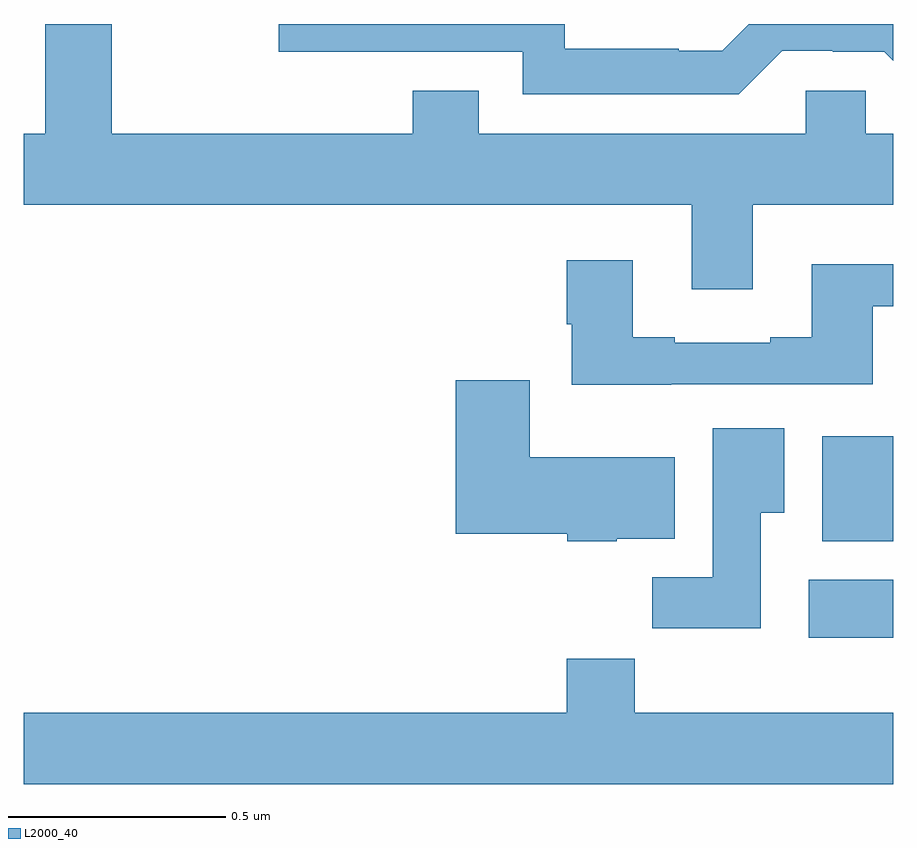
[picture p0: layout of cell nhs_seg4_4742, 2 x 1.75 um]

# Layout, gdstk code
import gdstk
lib = gdstk.Library(unit=1e-6, precision=1e-09)
def R(c, l, rs):  # rectangles x0, y0, x1, y1
    for r in rs: c.add(gdstk.rectangle(r[:2], r[2:], *l))
def P(c, l, *ps):  # polygons
    for p in ps: c.add(gdstk.Polygon(p, *l))
L2000_40 = (2000, 40)

nhs_seg4_4742 = lib.new_cell('nhs_seg4_4742')
R(nhs_seg4_4742, L2000_40, [(170.805,798.488,171,798.622), (170.837,798.71,171,798.952)])
P(nhs_seg4_4742, L2000_40, [(169.049,799.9),(169.049,799.648),(169,799.648),(169,799.484),(170.537,799.484),(170.537,799.29),(170.677,799.29),(170.677,799.484),(171,799.484),(171,799.648),(170.937,799.648),(170.937,799.746),(170.799,799.746),(170.799,799.648),(170.047,799.648),(170.047,799.747),(169.895,799.747),(169.895,799.648),(169.202,799.648),(169.202,799.9)],
  [(170.745,799.839),(170.861,799.839),(170.861,799.836),(170.979,799.836),(171,799.815),(171,799.9),(170.668,799.9),(170.607,799.839),(170.507,799.839),(170.507,799.843),(170.244,799.843),(170.244,799.9),(169.587,799.9),(169.587,799.836),(170.148,799.836),(170.148,799.739),(170.645,799.739)],
  [(170.489,799.071),(170.953,799.071),(170.953,799.251),(171,799.251),(171,799.348),(170.813,799.348),(170.813,799.18),(170.717,799.18),(170.717,799.167),(170.497,799.167),(170.497,799.18),(170.401,799.18),(170.401,799.357),(170.249,799.357),(170.249,799.209),(170.261,799.209),(170.261,799.07),(170.489,799.07)],
  [(170.364,798.716),(170.497,798.716),(170.497,798.904),(170.164,798.904),(170.164,799.081),(169.994,799.081),(169.994,798.728),(170.25,798.728),(170.25,798.71),(170.364,798.71)],
  [(170.695,798.776),(170.749,798.776),(170.749,798.97),(170.585,798.97),(170.585,798.628),(170.446,798.628),(170.446,798.51),(170.695,798.51)],
  [(171,798.316),(170.405,798.316),(170.405,798.44),(170.249,798.44),(170.249,798.316),(169,798.316),(169,798.152),(171,798.152)])

lib.write_gds('nhs_seg4_4742.gds')
